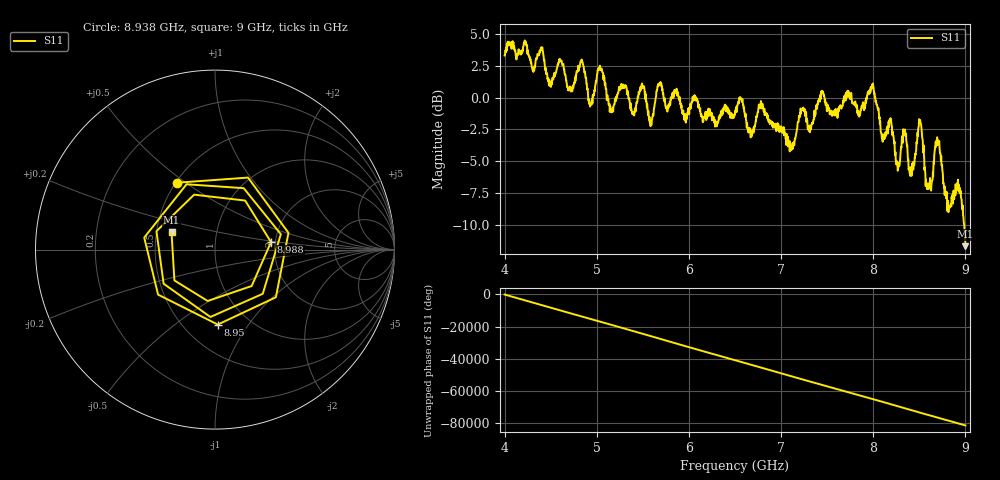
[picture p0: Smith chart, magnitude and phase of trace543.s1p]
! Created with skrf 1.8.0 (http://scikit-rf.org).
# Hz S RI R 50.0
!freq ReS11 ImS11
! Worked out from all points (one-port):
!   1601 points, 4 GHz to 9 GHz, reference 50 ohm
!   lowest |S11| = -11.7 dB at 9 GHz (marker M1), VSWR 1.71, Z = 30 + j6.21 ohm
!   |S11| at or under -10 dB: 8.987094 GHz to end of sweep
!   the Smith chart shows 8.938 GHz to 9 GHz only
!   S11 on the Smith chart (normalised r, x): 8.938 GHz: 0.51, +0.46; 8.95 GHz: 0.72, -0.73; 8.988 GHz: 1.90, +0.18; 9 GHz: 0.60, +0.12
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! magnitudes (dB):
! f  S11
! 4 GHz  3.3
! 4.625 GHz  2.6
! 4.712 GHz  0.7
! 4.841 GHz  2.9
! 4.931 GHz  -0.5
! 5.034 GHz  2.5
! 5.153 GHz  -1.1
! 5.25 GHz  0.7
! 5.397 GHz  -1.3
! 5.5 GHz  0.8
! 5.591 GHz  -2.1
! 5.675 GHz  1.0
! 5.875 GHz  0.4
! 6.5 GHz  -1.3
! 7.125 GHz  -3.6
! 7.231 GHz  -1.0
! 7.75 GHz  -0.1
! 7.991 GHz  1.1
! 8.262 GHz  -5.2
! 8.375 GHz  -4.7
! 8.506 GHz  -1.8
! 8.594 GHz  -6.9
! 8.697 GHz  -3.7
! 8.812 GHz  -8.1
! 8.938 GHz  -7.4
! 8.95 GHz  -7.6
! 8.988 GHz  -10.0
! 9 GHz  -11.7
